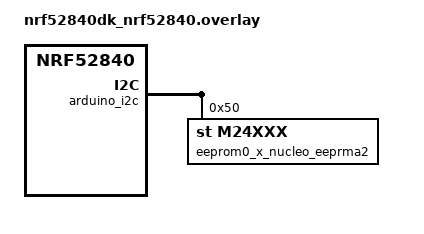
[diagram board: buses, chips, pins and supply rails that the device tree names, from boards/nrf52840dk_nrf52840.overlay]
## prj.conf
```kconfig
CONFIG_PRINTK=y
CONFIG_EEPROM=y
CONFIG_LOG=y
CONFIG_LOG_MODE_IMMEDIATE=y

CONFIG_MAIN_STACK_SIZE=4096
```

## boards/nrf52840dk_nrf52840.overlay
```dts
/ {
	aliases {
		eeprom-0 = &eeprom0_x_nucleo_eeprma2;
	};
};

&arduino_i2c {
	status = "okay";
	/* clock-frequency = <I2C_BITRATE_FAST>; */

	eeprom0_x_nucleo_eeprma2: eeprom@54 {
		compatible = "st,m24xxx", "atmel,at24";
		reg = <0x50>;
		size = <4096>;
		pagesize = <32>;
		address-width = <16>;
		timeout = <5>;
	};
};
```

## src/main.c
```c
/*
 * Copyright (c) 2021 Thomas Stranger
 *
 * SPDX-License-Identifier: Apache-2.0
 */

#include <zephyr/kernel.h>
#include <zephyr/sys/printk.h>
#include <zephyr/drivers/eeprom.h>
#include <zephyr/device.h>

#include <zephyr/logging/log.h>
LOG_MODULE_REGISTER(main, 4);

#define EEPROM_SAMPLE_OFFSET 0
#define EEPROM_SAMPLE_MAGIC  0xEE9703

struct perisistant_values {
	uint32_t magic;
	uint32_t boot_count;
};

/*
 * Get a device structure from a devicetree node with alias eeprom-0
 */
static const struct device *get_eeprom_device(void)
{
	const struct device *const dev = DEVICE_DT_GET(DT_ALIAS(eeprom_0));

	if (!device_is_ready(dev)) {
		printk("\nError: Device \"%s\" is not ready; "
		       "check the driver initialization logs for errors.\n",
		       dev->name);
		return NULL;
	}

	printk("Found EEPROM device \"%s\"\n", dev->name);
	return dev;
}

static uint8_t rxbuf[4096];

void main(void)
{
	const struct device *eeprom = get_eeprom_device();
	size_t eeprom_size;
	int rc;

	if (eeprom == NULL) {
		return;
	}

	eeprom_size = eeprom_get_size(eeprom);
	printk("Using eeprom with size of: %zu.\n", eeprom_size);

	for (int a=0; a<512; a++) {
		rc = eeprom_read(eeprom, a, &rxbuf, 1);
		if (rc < 0) {
			printk("Error: Couldn't read eeprom: err: %d.\n", rc);
			return;
		} else {
			LOG_DBG("read[%u]\t %x", a, rxbuf[0]);
		}
	}

	/* Sequential readout */
	uint16_t len = 4096;

	/* Driver prevents us to read across boundary (and test the overflow on the
	 * other side), too bad.
	 */
	rc = eeprom_read(eeprom, 0, rxbuf, len);
	if (rc < 0) {
		printk("Error: Couldn't read eeprom: err: %d.\n", rc);
		return;
	} else {
		LOG_HEXDUMP_DBG(rxbuf, 2048, "I2C RX:");
		LOG_HEXDUMP_DBG(&rxbuf[2048], 2048, "I2C RX:");
	}
}
```
